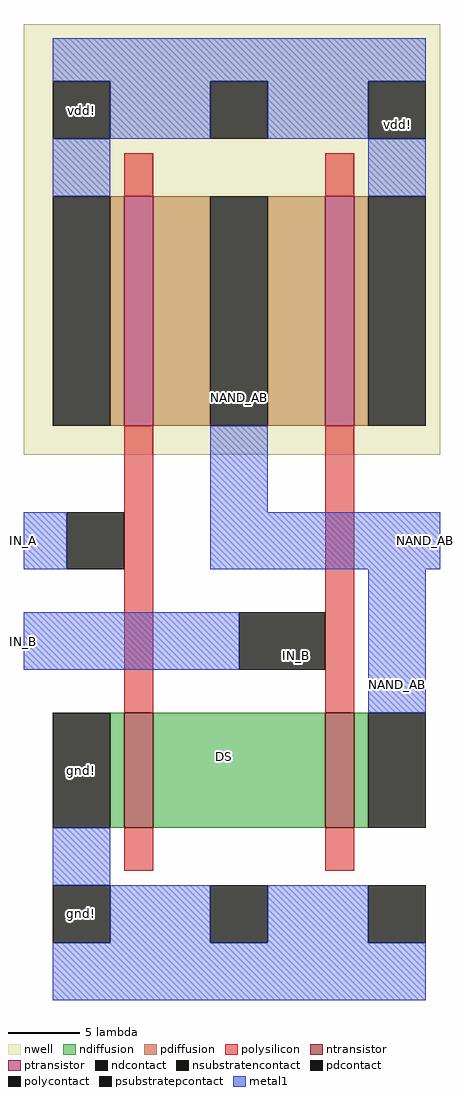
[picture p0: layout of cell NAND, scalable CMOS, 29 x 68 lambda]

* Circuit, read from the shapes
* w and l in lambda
.subckt NAND DS IN_A IN_B NAND_AB gnd! vdd!
M1 DS IN_A gnd! gnd! nfet w=8 l=2
M2 NAND_AB IN_B DS gnd! nfet w=8 l=2
M3 NAND_AB IN_A vdd! vdd! pfet w=16 l=2
M4 vdd! IN_B NAND_AB vdd! pfet w=16 l=2
.ends

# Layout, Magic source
magic
tech scmos
<< nwell >>
rect -8 4 21 34
<< polysilicon >>
rect -1 22 1 25
rect 13 22 15 25
rect -1 -14 1 6
rect 13 -14 15 6
rect -1 -25 1 -22
rect 13 -25 15 -22
<< ndiffusion >>
rect -2 -22 -1 -14
rect 1 -22 13 -14
rect 15 -22 16 -14
<< pdiffusion >>
rect -2 6 -1 22
rect 1 6 5 22
rect 9 6 13 22
rect 15 6 16 22
<< metal1 >>
rect -6 30 20 33
rect -2 26 5 30
rect 9 26 16 30
rect -6 22 -2 26
rect 16 22 20 26
rect 5 0 9 6
rect -8 -4 -5 0
rect 5 -4 21 0
rect -8 -11 7 -7
rect 16 -14 20 -4
rect -6 -26 -2 -22
rect -2 -30 5 -26
rect 9 -30 16 -26
rect -6 -34 20 -30
<< ntransistor >>
rect -1 -22 1 -14
rect 13 -22 15 -14
<< ptransistor >>
rect -1 6 1 22
rect 13 6 15 22
<< polycontact >>
rect -5 -4 -1 0
rect 7 -11 13 -7
<< ndcontact >>
rect -6 -22 -2 -14
rect 16 -22 20 -14
<< pdcontact >>
rect -6 6 -2 22
rect 5 6 9 22
rect 16 6 20 22
<< psubstratepcontact >>
rect -6 -30 -2 -26
rect 5 -30 9 -26
rect 16 -30 20 -26
<< nsubstratencontact >>
rect -6 26 -2 30
rect 5 26 9 30
rect 16 26 20 30
<< labels >>
rlabel metal1 20 -4 20 0 7 NAND_AB
rlabel pdcontact 7 8 7 8 1 NAND_AB
rlabel ndiffusion 6 -17 6 -17 1 DS
rlabel nsubstratencontact 18 27 18 27 7 vdd!
rlabel polycontact 11 -10 11 -10 1 IN_B
rlabel metal1 18 -12 18 -12 7 NAND_AB
rlabel metal1 -8 -4 -8 0 3 IN_A
rlabel metal1 -8 -11 -8 -7 3 IN_B
rlabel psubstratepcontact -6 -30 -2 -26 2 gnd!
rlabel ndcontact -4 -18 -4 -18 3 gnd!
rlabel nsubstratencontact -6 26 -2 30 3 vdd!
<< end >>
